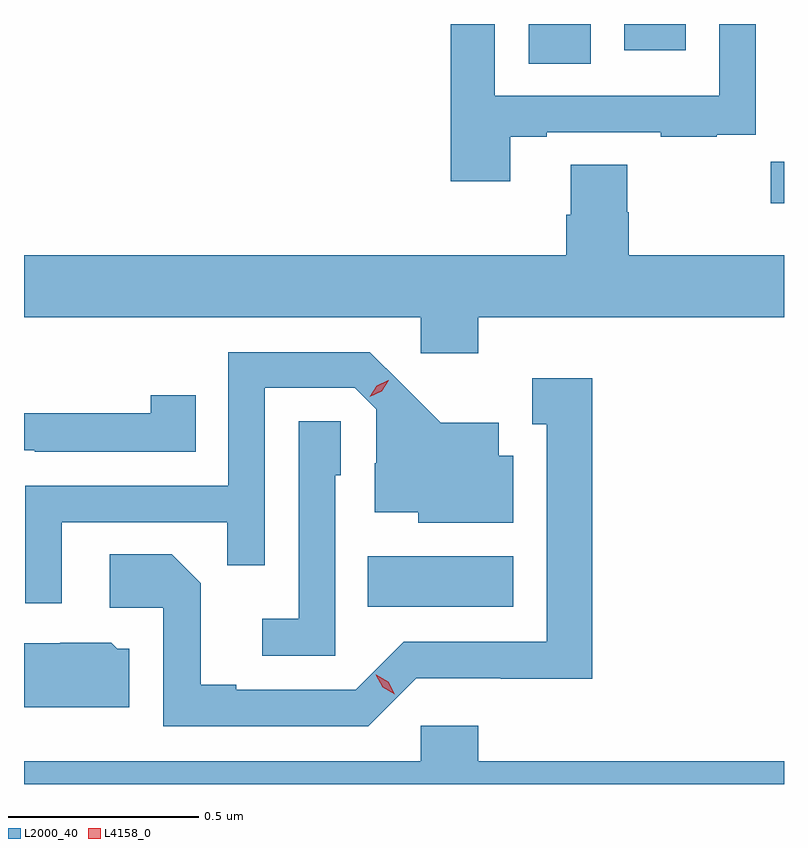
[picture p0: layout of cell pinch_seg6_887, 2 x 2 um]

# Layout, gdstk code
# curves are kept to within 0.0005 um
import gdstk
lib = gdstk.Library(unit=1e-6, precision=1e-09)
def R(c, l, rs):  # rectangles x0, y0, x1, y1
    for r in rs: c.add(gdstk.rectangle(r[:2], r[2:], *l))
def P(c, l, *ps):  # polygons
    for p in ps: c.add(gdstk.Polygon(p, *l))
L2000_40 = (2000, 40)
L4158_0 = (4158, 0)

pinch_seg6_887 = lib.new_cell('pinch_seg6_887')
R(pinch_seg6_887, L2000_40, [(156.904,971.882,157.288,972.016), (157.965,972.944,158,973.054), (157.328,973.312,157.492,973.416), (157.58,973.347,157.741,973.416)])
P(pinch_seg6_887, L2000_40, [(157.279,973.119),(157.375,973.119),(157.375,973.131),(157.675,973.131),(157.675,973.119),(157.823,973.119),(157.823,973.125),(157.925,973.125),(157.925,973.234),(157.926,973.234),(157.926,973.416),(157.83,973.416),(157.83,973.227),(157.239,973.227),(157.239,973.416),(157.123,973.416),(157.123,973.002),(157.279,973.002)],
  [(157.196,972.644),(158,972.644),(158,972.808),(157.592,972.808),(157.592,972.921),(157.587,972.921),(157.587,973.046),(157.439,973.046),(157.439,972.914),(157.427,972.914),(157.427,972.808),(156,972.808),(156,972.644),(157.044,972.644),(157.044,972.549),(157.196,972.549)],
  [(156.099,972.105),(156.535,972.105),(156.535,971.992),(156.633,971.992),(156.633,972.459),(156.87,972.459),(156.927,972.402),(156.927,972.26),(156.923,972.26),(156.923,972.131),(157.038,972.131),(157.038,972.104),(157.288,972.104),(157.288,972.28),(157.249,972.28),(157.249,972.367),(157.097,972.367),(156.91,972.552),(156.537,972.552),(156.537,972.201),(156.003,972.201),(156.003,971.892),(156.099,971.892)],
  [(157.032,971.694),(157.254,971.694),(157.254,971.693),(157.495,971.693),(157.495,972.484),(157.337,972.484),(157.337,972.363),(157.376,972.363),(157.376,971.79),(156.999,971.79),(156.873,971.664),(156.559,971.664),(156.559,971.677),(156.465,971.677),(156.465,971.944),(156.389,972.02),(156.225,972.02),(156.225,971.88),(156.366,971.88),(156.366,971.568),(156.906,971.568)],
  [(156.452,972.439),(156.334,972.439),(156.334,972.392),(156,972.392),(156,972.294),(156.028,972.294),(156.028,972.291),(156.452,972.291)],
  [(156.819,972.228),(156.834,972.228),(156.834,972.371),(156.723,972.371),(156.723,971.851),(156.627,971.851),(156.627,971.754),(156.819,971.754)],
  [(156.277,971.772),(156.246,971.772),(156.23,971.788),(156.096,971.788),(156.096,971.787),(156,971.787),(156,971.618),(156.277,971.618)],
  [(158,971.476),(157.196,971.476),(157.196,971.569),(157.044,971.569),(157.044,971.476),(156,971.476),(156,971.416),(158,971.416)])
P(pinch_seg6_887, L4158_0, [(156.975,971.652),(156.944,971.671),(156.926,971.704),(156.926,971.704),(156.927,971.704),(156.958,971.685),(156.975,971.652),(156.975,971.652)],
  [(156.91,972.435),(156.91,972.435),(156.928,972.464),(156.959,972.479),(156.96,972.479),(156.96,972.479),(156.942,972.45),(156.91,972.435)])

lib.write_gds('pinch_seg6_887.gds')
